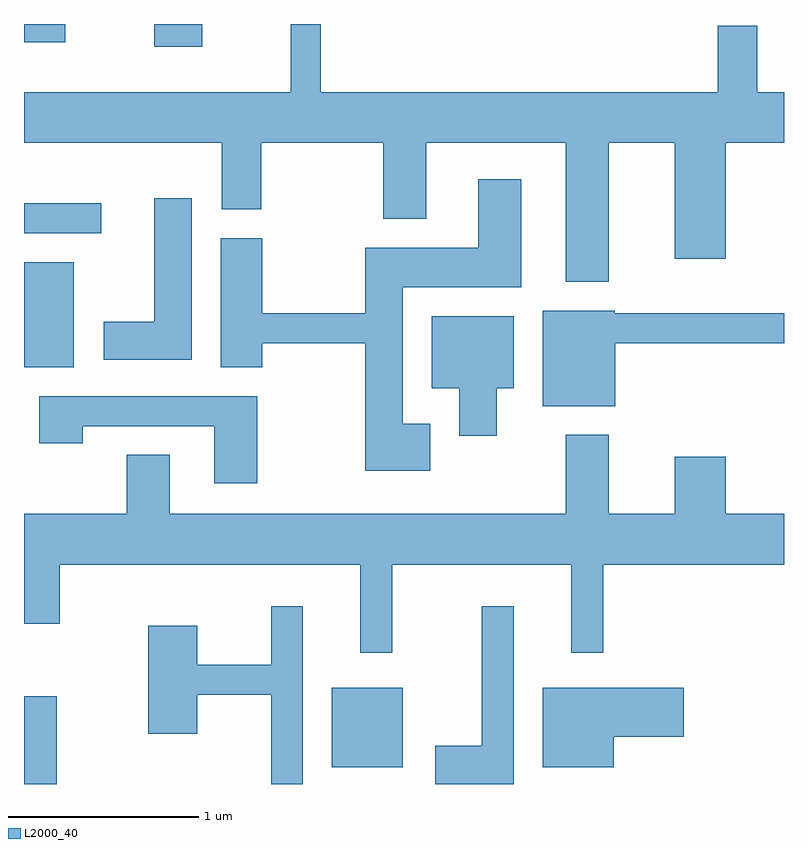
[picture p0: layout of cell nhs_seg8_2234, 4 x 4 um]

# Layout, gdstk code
import gdstk
lib = gdstk.Library(unit=1e-6, precision=1e-09)
def R(c, l, rs):  # rectangles x0, y0, x1, y1
    for r in rs: c.add(gdstk.rectangle(r[:2], r[2:], *l))
def P(c, l, *ps):  # polygons
    for p in ps: c.add(gdstk.Polygon(p, *l))
L2000_40 = (2000, 40)

nhs_seg8_2234 = lib.new_cell('nhs_seg8_2234')
R(nhs_seg8_2234, L2000_40, [(251.611,1866.342,251.784,1866.804), (253.231,1866.431,253.604,1866.849), (251.611,1868.536,251.874,1869.089), (251.611,1869.241,252.018,1869.399), (252.296,1870.221,252.549,1870.342), (251.611,1870.246,251.829,1870.342)])
P(nhs_seg8_2234, L2000_40, [(254.689,1869.716),(255.036,1869.716),(255.036,1869.106),(255.304,1869.106),(255.304,1869.716),(255.611,1869.716),(255.611,1869.984),(255.469,1869.984),(255.469,1870.334),(255.261,1870.334),(255.261,1869.984),(253.174,1869.984),(253.174,1870.342),(253.016,1870.342),(253.016,1869.984),(251.611,1869.984),(251.611,1869.716),(252.651,1869.716),(252.651,1869.366),(252.859,1869.366),(252.859,1869.716),(253.501,1869.716),(253.501,1869.316),(253.729,1869.316),(253.729,1869.716),(254.461,1869.716),(254.461,1868.986),(254.689,1868.986)],
  [(253.749,1868.239),(253.604,1868.239),(253.604,1868.956),(254.229,1868.956),(254.229,1869.524),(254.001,1869.524),(254.001,1869.164),(253.406,1869.164),(253.406,1868.819),(252.864,1868.819),(252.864,1869.214),(252.646,1869.214),(252.646,1868.536),(252.864,1868.536),(252.864,1868.661),(253.406,1868.661),(253.406,1867.991),(253.749,1867.991)],
  [(252.494,1869.424),(252.296,1869.424),(252.296,1868.774),(252.031,1868.774),(252.031,1868.576),(252.494,1868.576)],
  [(254.724,1868.661),(255.611,1868.661),(255.611,1868.819),(254.72,1868.819),(254.72,1868.834),(254.341,1868.834),(254.341,1868.331),(254.724,1868.331)],
  [(254.099,1868.426),(254.189,1868.426),(254.189,1868.804),(253.756,1868.804),(253.756,1868.426),(253.901,1868.426),(253.901,1868.176),(254.099,1868.176)],
  [(252.839,1868.384),(251.691,1868.384),(251.691,1868.136),(251.919,1868.136),(251.919,1868.226),(252.611,1868.226),(252.611,1867.926),(252.839,1867.926)],
  [(253.549,1867.496),(254.491,1867.496),(254.491,1867.033),(254.659,1867.033),(254.659,1867.496),(255.611,1867.496),(255.611,1867.764),(255.304,1867.764),(255.304,1868.064),(255.036,1868.064),(255.036,1867.764),(254.689,1867.764),(254.689,1868.179),(254.461,1868.179),(254.461,1867.764),(252.379,1867.764),(252.379,1868.074),(252.151,1868.074),(252.151,1867.764),(251.611,1867.764),(251.611,1867.186),(251.799,1867.186),(251.799,1867.496),(253.381,1867.496),(253.381,1867.033),(253.549,1867.033)],
  [(254.189,1867.278),(254.021,1867.278),(254.021,1866.544),(253.776,1866.544),(253.776,1866.342),(254.189,1866.342)],
  [(253.079,1867.278),(252.911,1867.278),(252.911,1866.969),(252.524,1866.969),(252.524,1867.174),(252.266,1867.174),(252.266,1866.606),(252.524,1866.606),(252.524,1866.811),(252.911,1866.811),(252.911,1866.342),(253.079,1866.342)],
  [(254.714,1866.591),(255.084,1866.591),(255.084,1866.849),(254.341,1866.849),(254.341,1866.431),(254.714,1866.431)])

lib.write_gds('nhs_seg8_2234.gds')
